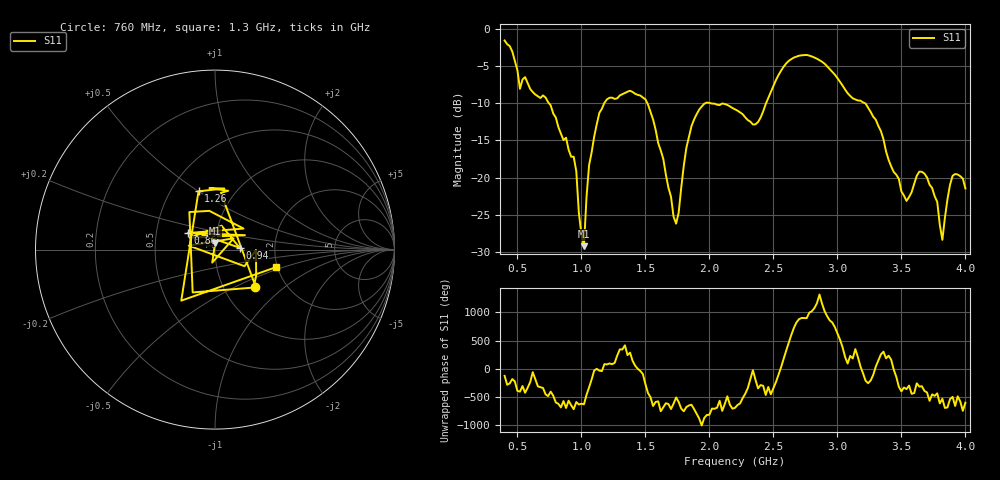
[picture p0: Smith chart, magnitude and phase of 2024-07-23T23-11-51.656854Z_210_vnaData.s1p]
!Created with skrf (http://scikit-rf.org).
# Hz S RI R 50.0
!freq ReS11 ImS11
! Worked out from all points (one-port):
!   181 points, 400 MHz to 4 GHz, reference 50 ohm
!   lowest |S11| = -29.2 dB at 1.02 GHz (marker M1), VSWR 1.07, Z = 49.9 + j3.46 ohm
!   |S11| at or under -10 dB: 1.515 GHz to 1.97 GHz (455 MHz wide, 26.1 % of centre); 2.008 GHz to 2.443 GHz (435.3 MHz wide, 19.6 % of centre); 3.214 GHz to end of sweep (the widest 3 of 4)
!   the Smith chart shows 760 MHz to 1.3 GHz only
!   S11 on the Smith chart (normalised r, x): 760 MHz: 1.39, -0.65; 860 MHz: 0.72, +0.14; 940 MHz: 1.32, +0.03; 1.26 GHz: 0.68, +0.50; 1.3 GHz: 1.98, -0.44
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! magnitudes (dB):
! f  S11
! 400 MHz  -1.6
! 520 MHz  -8.1
! 760 MHz  -10.3
! 860 MHz  -15.0
! 940 MHz  -17.2
! 1.02 GHz  -29.2
! 1.06 GHz  -18.3
! 1.12 GHz  -12.8
! 1.26 GHz  -9.4
! 1.3 GHz  -9.0
! 1.5 GHz  -9.5
! 1.64 GHz  -17.5
! 1.72 GHz  -25.3
! 1.76 GHz  -24.7
! 1.82 GHz  -16.0
! 1.9 GHz  -11.5
! 2.2 GHz  -10.8
! 2.36 GHz  -12.8
! 2.66 GHz  -3.9
! 2.88 GHz  -4.4
! 3.1 GHz  -9.0
! 3.3 GHz  -12.2
! 3.56 GHz  -22.6
! 3.68 GHz  -19.5
! 3.78 GHz  -23.3
! 3.82 GHz  -28.4
! 3.9 GHz  -19.8
! 4 GHz  -21.5
